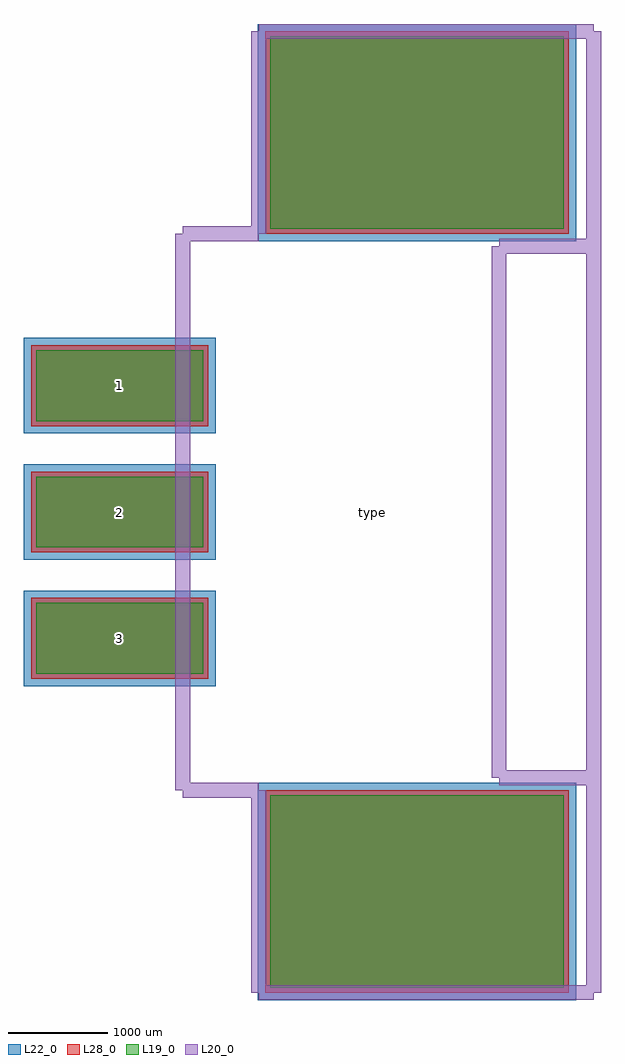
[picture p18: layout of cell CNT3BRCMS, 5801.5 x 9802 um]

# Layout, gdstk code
import gdstk
lib = gdstk.Library(unit=1e-6, precision=1e-09)
def R(c, l, rs):  # rectangles x0, y0, x1, y1
    for r in rs: c.add(gdstk.rectangle(r[:2], r[2:], *l))
def A(c, l, x, y, w, h, nx, ny, dx, dy):  # array of equal rectangles
    R(c, l, [(x+i*dx, y+j*dy, x+i*dx+w, y+j*dy+h) for i in range(nx) for j in range(ny)])
L19_0 = (19, 0)
L20_0 = (20, 0)
L22_0 = (22, 0)
L28_0 = (28, 0)

cnt3brcms = lib.new_cell('CNT3BRCMS')
A(cnt3brcms, L19_0, -839, -1626.4, 1678, 712.8, 1, 3, 0, 1270)
R(cnt3brcms, L19_0, [(1510.5,-4776,4458.5,-2844), (1510.5,2844,4458.5,4776)])
A(cnt3brcms, L22_0, -964, -1751.4, 1928, 962.8, 1, 3, 0, 1270)
R(cnt3brcms, L22_0, [(1385.5,-4901,4583.5,-2719), (1385.5,2719,4583.5,4901)])
A(cnt3brcms, L28_0, -889, -1676.4, 1778, 812.8, 1, 3, 0, 1270)
R(cnt3brcms, L28_0, [(1460.5,-4826,4508.5,-2794), (1460.5,2794,4508.5,4826)])
cnt3brcms.add(gdstk.FlexPath([(635,-2794),(635,0)], 149.998, ends="flush", simple_path=True, layer=20, datatype=0))  # L20_0
cnt3brcms.add(gdstk.FlexPath([(1397,-2794),(635,-2794)], 149.998, ends="flush", simple_path=True, layer=20, datatype=0))  # L20_0
cnt3brcms.add(gdstk.FlexPath([(1397,-4826),(1397,-2794)], 149.998, ends="flush", simple_path=True, layer=20, datatype=0))  # L20_0
cnt3brcms.add(gdstk.FlexPath([(4762.5,-4826),(1397,-4826)], 149.998, ends="flush", simple_path=True, layer=20, datatype=0))  # L20_0
cnt3brcms.add(gdstk.FlexPath([(4762.5,4826),(4762.5,-4826)], 149.998, ends="flush", simple_path=True, layer=20, datatype=0))  # L20_0
cnt3brcms.add(gdstk.FlexPath([(1397,4826),(4762.5,4826)], 149.998, ends="flush", simple_path=True, layer=20, datatype=0))  # L20_0
cnt3brcms.add(gdstk.FlexPath([(1397,2794),(1397,4826)], 149.998, ends="flush", simple_path=True, layer=20, datatype=0))  # L20_0
cnt3brcms.add(gdstk.FlexPath([(635,2794),(1397,2794)], 149.998, ends="flush", simple_path=True, layer=20, datatype=0))  # L20_0
cnt3brcms.add(gdstk.FlexPath([(635,0),(635,2794)], 149.998, ends="flush", simple_path=True, layer=20, datatype=0))  # L20_0
cnt3brcms.add(gdstk.FlexPath([(3810,-2667),(4762.5,-2667)], 149.998, ends="flush", simple_path=True, layer=20, datatype=0))  # L20_0
cnt3brcms.add(gdstk.FlexPath([(3810,2667),(3810,-2667)], 149.998, ends="flush", simple_path=True, layer=20, datatype=0))  # L20_0
cnt3brcms.add(gdstk.FlexPath([(4762.5,2667),(3810,2667)], 149.998, ends="flush", simple_path=True, layer=20, datatype=0))  # L20_0
cnt3brcms.add(gdstk.Label('3', (0,-1270), layer=28, texttype=0))
cnt3brcms.add(gdstk.Label('2', (0,0), layer=28, texttype=0))
cnt3brcms.add(gdstk.Label('1', (0,1270), layer=28, texttype=0))
cnt3brcms.add(gdstk.Label('type', (2540,0), layer=9, texttype=0))
cnt3brcms.add(gdstk.Label('devicename', (2540,0), layer=9, texttype=0))

lib.write_gds('CNT3BRCMS.gds')
